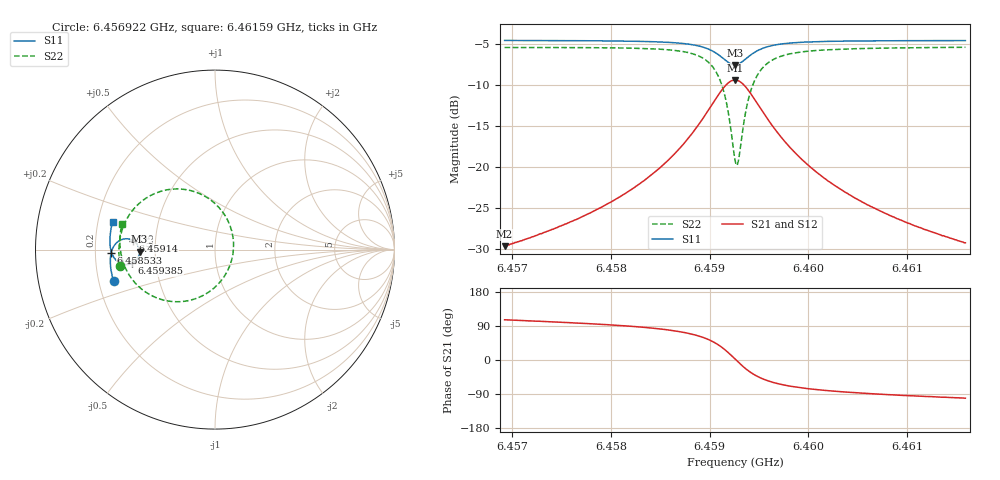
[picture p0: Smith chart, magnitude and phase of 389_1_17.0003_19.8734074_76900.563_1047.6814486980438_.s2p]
#  HZ  S  RI  R  50.00
! Rohde & Schwarz Vector Network Analyzer
! Rohde-Schwarz,ZNB20-2Port,1311601062101988,3.16
! Created: UTC 3/20/2024, 11:09:27 PM
! freq[Hz]  re:S11  im:S11  re:S21  im:S21  re:S12  im:S12  re:S22  im:S22
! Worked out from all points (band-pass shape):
!   401 points, 6.456922 GHz to 6.46159 GHz, reference 50 ohm
!   highest |S21| = -9.37 dB at 6.459256 GHz (marker M1); lowest = -29.6 dB at 6.456922 GHz (marker M2)
!   |S21| within 3 dB of the highest: 6.459023 GHz to 6.45949 GHz (466.2 kHz wide, 0.00722 % of centre)
!   lowest |S11| = -7.5 dB at 6.459256 GHz (marker M3), VSWR 2.45, Z = 20.4 - j0.559 ohm
!   |S11| at or under -10 dB: nowhere
!   |S22| runs from -19.7 to -5.4 dB; largest |S21 - S12| = 0.013
!   S11 on the Smith chart (normalised r, x): 6.456922 GHz: 0.26, -0.14; 6.458533 GHz: 0.27, -0.01; 6.45914 GHz: 0.37, +0.05; 6.459385 GHz: 0.36, -0.07; 6.46159 GHz: 0.26, +0.12
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6.4569223e9  -0.5653 -0.1764  -0.00917 0.0317  -0.00742 0.0318  -0.529 -0.0895
6.4577042e9  -0.5801 -0.1085  -0.00595 0.0494  -0.00342 0.049  -0.5355 0.000796
6.4581243e9  -0.5834 -0.0668  -0.000406 0.068  0.00281 0.0667  -0.5286 0.0657
6.4584861e9  -0.5798 -0.0241  0.0133 0.0971  0.0172 0.0945  -0.504 0.1454
6.4585328e9  -0.5785 -0.0177  0.0165 0.1026  0.0207 0.0996  -0.4978 0.1584
6.4587545e9  -0.5655 0.0161  0.0444 0.136  0.0485 0.1312  -0.446 0.234
6.4589062e9  -0.5433 0.0423  0.0888 0.1663  0.092 0.1597  -0.3644 0.2984
6.4590462e9  -0.5001 0.06  0.1744 0.1831  0.1754 0.1758  -0.208 0.338
6.4591396e9  -0.4563 0.0505  0.2632 0.1529  0.2634 0.147  -0.0441 0.29
6.4591863e9  -0.4352 0.032  0.3064 0.1109  0.3075 0.1056  0.0381 0.2155
6.4592563e9  -0.4205 -0.0113  0.3397 0.0158  0.3431 0.00887  0.1032 0.0393
6.459268e9  -0.4209 -0.0193  0.3396 -0.00177  0.3431 -0.00926  0.103 0.00623
6.4592913e9  -0.4244 -0.0347  0.3343 -0.036  0.3379 -0.045  0.0927 -0.0584
6.459338e9  -0.4397 -0.0603  0.3064 -0.0952  0.3084 -0.1067  0.0368 -0.17
6.4593847e9  -0.4614 -0.0763  0.2652 -0.1358  0.2644 -0.1486  -0.0463 -0.2442
6.459478e9  -0.5041 -0.083  0.1818 -0.1668  0.1758 -0.178  -0.212 -0.2905
6.4596297e9  -0.5473 -0.0624  0.0953 -0.1534  0.0871 -0.1597  -0.3767 -0.2428
6.4597931e9  -0.5686 -0.0349  0.0508 -0.1265  0.0437 -0.129  -0.4564 -0.1723
6.4600382e9  -0.5812 0.000558  0.0223 -0.0955  0.0165 -0.0961  -0.5039 -0.091
6.4603533e9  -0.5855 0.038  0.00745 -0.0712  0.00333 -0.0707  -0.5244 -0.0192
6.4608201e9  -0.5836 0.0849  -0.00135 -0.0509  -0.00414 -0.0501  -0.5297 0.0551
6.4615903e9  -0.5711 0.1529  -0.00648 -0.034  -0.00806 -0.0331  -0.5184 0.1448
